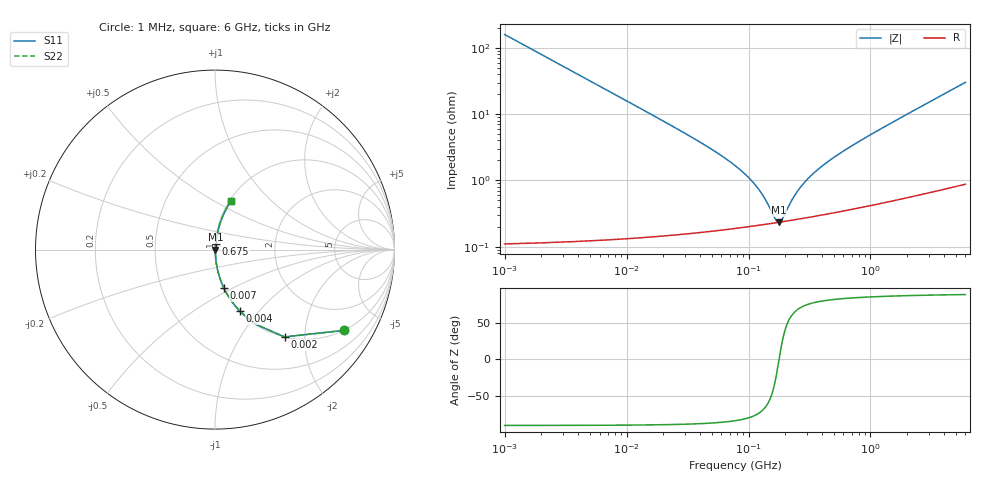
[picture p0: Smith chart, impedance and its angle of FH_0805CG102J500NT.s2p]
! FH 0805CG102J500NT 1000 pF 0805 C0G (C4 C13)
! FH publishes no RF data: typical 0805 C0G model, ESL=0.8 nH, ESR=0.10+0.10*sqrt(f/100MHz) ohm
! Generated by make_s2p.py - an estimate, not a measurement
! Series-thru 2-port: part connected between port 1 and port 2.
# Hz S RI R 50
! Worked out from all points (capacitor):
!   1500 points, 1 MHz to 6 GHz, reference 50 ohm
!   read as one part in series: C = 1 nF near 8 MHz
!   lowest |Z| = 233 mohm at 177 MHz (marker M1)
!   series resonance near 177.9 MHz, so ESL is about 800 pH
!   S11 on the Smith chart (normalised r, x): 1 MHz: 1.00, -3.18; 2 MHz: 1.00, -1.59; 4 MHz: 1.00, -0.80; 7 MHz: 1.00, -0.45; 675 MHz: 1.01, +0.06; 6 GHz: 1.02, +0.60
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1000000  0.7168 -0.4502  0.2832 0.4502  0.2832 0.4502  0.7168 -0.4502
2000000  0.3878 -0.4865  0.6122 0.4865  0.6122 0.4865  0.3878 -0.4865
4000000  0.1373 -0.3427  0.8627 0.3427  0.8627 0.3427  0.1373 -0.3427
5000000  0.0928 -0.2882  0.9072 0.2882  0.9072 0.2882  0.0928 -0.2882
7000000  0.0501 -0.2154  0.9499 0.2154  0.9499 0.2154  0.0501 -0.2154
1e7  0.0258 -0.1544  0.9742 0.1544  0.9742 0.1544  0.0258 -0.1544
1.9e7  0.00822 -0.082  0.9918 0.082  0.9918 0.082  0.00822 -0.082
4.7e7  0.00267 -0.0314  0.9973 0.0314  0.9973 0.0314  0.00267 -0.0314
7.8e7  0.00215 -0.0164  0.9979 0.0164  0.9979 0.0164  0.00215 -0.0164
9.8e7  0.00211 -0.0113  0.9979 0.0113  0.9979 0.0113  0.00211 -0.0113
1.18e8  0.00214 -0.00752  0.9979 0.00752  0.9979 0.00752  0.00214 -0.00752
1.37e8  0.00219 -0.00471  0.9978 0.00471  0.9978 0.00471  0.00219 -0.00471
1.66e8  0.00228 -0.00124  0.9977 0.00124  0.9977 0.00124  0.00228 -0.00124
1.77e8  0.00233 -9.44e-05  0.9977 9.44e-05  0.9977 9.44e-05  0.00233 -9.44e-05
1.9e8  0.00237 0.00117  0.9976 -0.00117  0.9976 -0.00117  0.00237 0.00117
2.52e8  0.00262 0.00632  0.9974 -0.00632  0.9974 -0.00632  0.00262 0.00632
3.31e8  0.00295 0.0118  0.997 -0.0118  0.997 -0.0118  0.00295 0.0118
4.48e8  0.00346 0.0188  0.9965 -0.0188  0.9965 -0.0188  0.00346 0.0188
6.75e8  0.00457 0.0313  0.9954 -0.0313  0.9954 -0.0313  0.00457 0.0313
1.41e9  0.00951 0.0688  0.9905 -0.0688  0.9905 -0.0688  0.00951 0.0688
3.02e9  0.0284 0.146  0.9716 -0.146  0.9716 -0.146  0.0284 0.146
6e9  0.0899 0.2719  0.9101 -0.2719  0.9101 -0.2719  0.0899 0.2719
